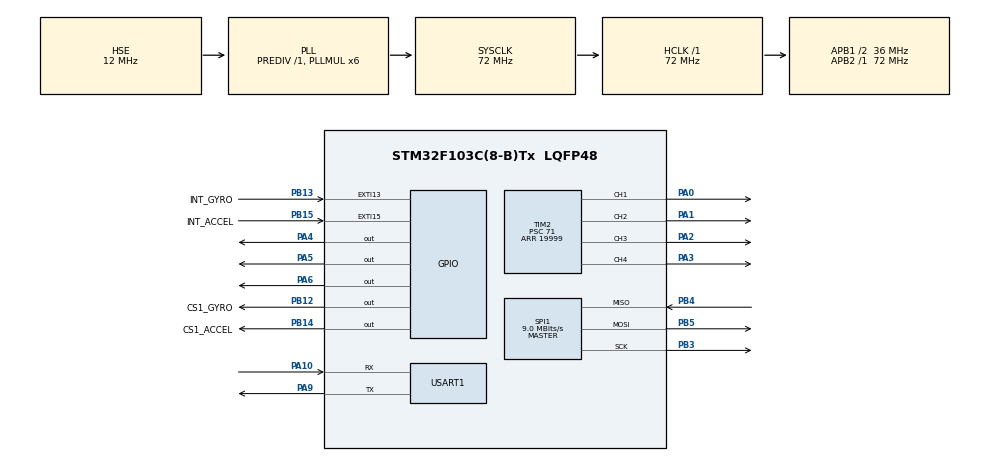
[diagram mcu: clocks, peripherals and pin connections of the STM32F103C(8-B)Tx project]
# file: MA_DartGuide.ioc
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FREERTOS.Tasks01=Ins_Task,24,512,IMU_Task,Default,NULL,Dynamic,NULL,NULL;CTL_Task,24,256,Control_Task,Default,NULL,Dynamic,NULL,NULL;LED_Task,8,128,led_task,Default,NULL,Dynamic,NULL,NULL
FREERTOS.configTOTAL_HEAP_SIZE=10240
Mcu.Family=STM32F1
Mcu.Name=STM32F103C(8-B)Tx
Mcu.Package=LQFP48
NVIC.PriorityGroup=NVIC_PRIORITYGROUP_4
NVIC.TIM1_UP_IRQn=true\:15\:0\:false\:false\:true\:false\:false\:true\:true
NVIC.USART1_IRQn=true\:5\:0\:true\:false\:true\:true\:true\:true\:true
NVIC.TimeBase=TIM1_UP_IRQn
NVIC.TimeBaseIP=TIM1
PA0-WKUP.Signal=S_TIM2_CH1_ETR
PA1.Signal=S_TIM2_CH2
PA10.Mode=Asynchronous
PA10.Signal=USART1_RX
PA13.Mode=Serial_Wire
PA13.Signal=SYS_JTMS-SWDIO
PA14.Mode=Serial_Wire
PA14.Signal=SYS_JTCK-SWCLK
PA2.Signal=S_TIM2_CH3
PA3.Signal=S_TIM2_CH4
PA4.PinState=GPIO_PIN_SET
PA4.Signal=GPIO_Output
PA5.PinState=GPIO_PIN_SET
PA5.Signal=GPIO_Output
PA6.PinState=GPIO_PIN_SET
PA6.Signal=GPIO_Output
PA9.Mode=Asynchronous
PA9.Signal=USART1_TX
PB12.GPIO_Label=CS1_GYRO
PB12.GPIO_PuPd=GPIO_PULLUP
PB12.GPIO_Speed=GPIO_SPEED_FREQ_HIGH
PB12.PinState=GPIO_PIN_SET
PB12.Signal=GPIO_Output
PB13.GPIO_Label=INT_GYRO
PB13.Signal=GPXTI13
PB14.GPIO_Label=CS1_ACCEL
PB14.GPIO_PuPd=GPIO_PULLUP
PB14.GPIO_Speed=GPIO_SPEED_FREQ_HIGH
PB14.PinState=GPIO_PIN_SET
PB14.Signal=GPIO_Output
PB15.GPIO_Label=INT_ACCEL
PB15.Signal=GPXTI15
PB3.Mode=Full_Duplex_Master
PB3.Signal=SPI1_SCK
PB4.GPIO_PuPd=GPIO_PULLUP
PB4.Mode=Full_Duplex_Master
PB4.Signal=SPI1_MISO
PB5.Mode=Full_Duplex_Master
PB5.Signal=SPI1_MOSI
PB8.Signal=CAN_RX
PB9.Signal=CAN_TX
PD0-OSC_IN.Mode=HSE-External-Oscillator
PD0-OSC_IN.Signal=RCC_OSC_IN
PD1-OSC_OUT.Mode=HSE-External-Oscillator
PD1-OSC_OUT.Signal=RCC_OSC_OUT
ProjectManager.HeapSize=0x200
ProjectManager.StackSize=0x800
ProjectManager.TargetToolchain=MDK-ARM V5.32
RCC.AHBFreq_Value=72000000
RCC.APB1CLKDivider=RCC_HCLK_DIV2
RCC.APB1Freq_Value=36000000
RCC.APB1TimFreq_Value=72000000
RCC.APB2Freq_Value=72000000
RCC.APB2TimFreq_Value=72000000
RCC.HCLKFreq_Value=72000000
RCC.HSE_VALUE=12000000
RCC.PLLMUL=RCC_PLL_MUL6
RCC.PLLSourceVirtual=RCC_PLLSOURCE_HSE
RCC.SYSCLKFreq_VALUE=72000000
RCC.SYSCLKSource=RCC_SYSCLKSOURCE_PLLCLK
SH.S_TIM2_CH1_ETR.0=TIM2_CH1,PWM Generation1 CH1
SH.S_TIM2_CH2.0=TIM2_CH2,PWM Generation2 CH2
SH.S_TIM2_CH3.0=TIM2_CH3,PWM Generation3 CH3
SH.S_TIM2_CH4.0=TIM2_CH4,PWM Generation4 CH4
SPI1.BaudRatePrescaler=SPI_BAUDRATEPRESCALER_8
SPI1.CLKPhase=SPI_PHASE_2EDGE
SPI1.CLKPolarity=SPI_POLARITY_HIGH
SPI1.CalculateBaudRate=9.0 MBits/s
SPI1.Direction=SPI_DIRECTION_2LINES
SPI1.Mode=SPI_MODE_MASTER
SPI1.VirtualType=VM_MASTER
TIM2.Channel-PWM\ Generation1\ CH1=TIM_CHANNEL_1
TIM2.Channel-PWM\ Generation2\ CH2=TIM_CHANNEL_2
TIM2.Channel-PWM\ Generation3\ CH3=TIM_CHANNEL_3
TIM2.Channel-PWM\ Generation4\ CH4=TIM_CHANNEL_4
TIM2.Period=19999
TIM2.Prescaler=71
TIM2.Pulse-PWM\ Generation4\ CH4=500
USART1.VirtualMode=VM_ASYNC
VP_FREERTOS_VS_CMSIS_V2.Mode=CMSIS_V2
VP_SYS_VS_tim1.Mode=TIM1
board=custom

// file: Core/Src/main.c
/* USER CODE BEGIN Header */
/**
  ******************************************************************************
  * @file           : main.c
  * @brief          : Main program body
  ******************************************************************************
  * @attention
  *
  * Copyright (c) 2026 STMicroelectronics.
  * All rights reserved.
  *
  * This software is licensed under terms that can be found in the LICENSE file
  * in the root directory of this software component.
  * If no LICENSE file comes with this software, it is provided AS-IS.
  *
  ******************************************************************************
  */
/* USER CODE END Header */
#include "main.h"
#include "cmsis_os.h"
#include "spi.h"
#include "tim.h"
#include "usart.h"
#include "gpio.h"

/* USER CODE BEGIN Includes */
#include "bsp_dwt.h"
/* USER CODE END Includes */

void SystemClock_Config(void);
void MX_FREERTOS_Init(void);

int main(void)
{

  /* MCU Configuration--------------------------------------------------------*/

  /* Reset of all peripherals, Initializes the Flash interface and the Systick. */
  HAL_Init();

  /* Configure the system clock */
  SystemClock_Config();

  /* Initialize all configured peripherals */
  MX_GPIO_Init();
  MX_SPI1_Init();
  MX_TIM2_Init();
  MX_USART1_UART_Init();
  /* USER CODE BEGIN 2 */
  DWT_Init(HAL_RCC_GetHCLKFreq() / 1000000U);
  /* BMI088 is initialized with retry handling by IMU_Task. */
  /* USER CODE END 2 */

  /* Init scheduler */
  osKernelInitialize();  /* Call init function for freertos objects (in cmsis_os2.c) */
  MX_FREERTOS_Init();

  /* Start scheduler */
  osKernelStart();

  /* We should never get here as control is now taken by the scheduler */

  /* Infinite loop */
  while (1)
  {

  }
}

void SystemClock_Config(void)
{
  RCC_OscInitTypeDef RCC_OscInitStruct = {0};
  RCC_ClkInitTypeDef RCC_ClkInitStruct = {0};

  /** Initializes the RCC Oscillators according to the specified parameters
  * in the RCC_OscInitTypeDef structure.
  */
  RCC_OscInitStruct.OscillatorType = RCC_OSCILLATORTYPE_HSE;
  RCC_OscInitStruct.HSEState = RCC_HSE_ON;
  RCC_OscInitStruct.HSEPredivValue = RCC_HSE_PREDIV_DIV1;
  RCC_OscInitStruct.HSIState = RCC_HSI_ON;
  RCC_OscInitStruct.PLL.PLLState = RCC_PLL_ON;
  RCC_OscInitStruct.PLL.PLLSource = RCC_PLLSOURCE_HSE;
  RCC_OscInitStruct.PLL.PLLMUL = RCC_PLL_MUL6;
  if (HAL_RCC_OscConfig(&RCC_OscInitStruct) != HAL_OK)
  {
    Error_Handler();
  }

  /** Initializes the CPU, AHB and APB buses clocks
  */
  RCC_ClkInitStruct.ClockType = RCC_CLOCKTYPE_HCLK|RCC_CLOCKTYPE_SYSCLK
                              |RCC_CLOCKTYPE_PCLK1|RCC_CLOCKTYPE_PCLK2;
  RCC_ClkInitStruct.SYSCLKSource = RCC_SYSCLKSOURCE_PLLCLK;
  RCC_ClkInitStruct.AHBCLKDivider = RCC_SYSCLK_DIV1;
  RCC_ClkInitStruct.APB1CLKDivider = RCC_HCLK_DIV2;
  RCC_ClkInitStruct.APB2CLKDivider = RCC_HCLK_DIV1;

  if (HAL_RCC_ClockConfig(&RCC_ClkInitStruct, FLASH_LATENCY_2) != HAL_OK)
  {
    Error_Handler();
  }
}

void HAL_TIM_PeriodElapsedCallback(TIM_HandleTypeDef *htim)
{
  if (htim->Instance == TIM1)
  {
    HAL_IncTick();
  }
}

void Error_Handler(void)
{
  __disable_irq();
  while (1)
  {
  }
}

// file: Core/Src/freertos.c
/* USER CODE BEGIN Header */
/**
  ******************************************************************************
  * File Name          : freertos.c
  * Description        : Code for freertos applications
  ******************************************************************************
  * @attention
  *
  * Copyright (c) 2026 STMicroelectronics.
  * All rights reserved.
  *
  * This software is licensed under terms that can be found in the LICENSE file
  * in the root directory of this software component.
  * If no LICENSE file comes with this software, it is provided AS-IS.
  *
  ******************************************************************************
  */
/* USER CODE END Header */

#include "FreeRTOS.h"
#include "task.h"
#include "main.h"
#include "cmsis_os.h"

/* USER CODE BEGIN Includes */
#include "ins_task.h"
#include "ctl_task.h"
#include "spi.h"

/* USER CODE END Includes */

/* Definitions for Ins_Task */
osThreadId_t Ins_TaskHandle;
const osThreadAttr_t Ins_Task_attributes = {
  .name = "Ins_Task",
  .stack_size = 512 * 4,
  .priority = (osPriority_t) osPriorityNormal,
};
/* Definitions for CTL_Task */
osThreadId_t CTL_TaskHandle;
const osThreadAttr_t CTL_Task_attributes = {
  .name = "CTL_Task",
  .stack_size = 256 * 4,
  .priority = (osPriority_t) osPriorityNormal,
};
/* Definitions for LED_Task */
osThreadId_t LED_TaskHandle;
const osThreadAttr_t LED_Task_attributes = {
  .name = "LED_Task",
  .stack_size = 128 * 4,
  .priority = (osPriority_t) osPriorityLow,
};

void IMU_Task(void *argument);
void Control_Task(void *argument);
void led_task(void *argument);

void MX_FREERTOS_Init(void); /* (MISRA C 2004 rule 8.1) */

void MX_FREERTOS_Init(void) {

  /* Create the thread(s) */
  /* creation of Ins_Task */
  Ins_TaskHandle = osThreadNew(IMU_Task, NULL, &Ins_Task_attributes);

  /* creation of CTL_Task */
  CTL_TaskHandle = osThreadNew(Control_Task, NULL, &CTL_Task_attributes);

  /* creation of LED_Task */
  LED_TaskHandle = osThreadNew(led_task, NULL, &LED_Task_attributes);

}

void IMU_Task(void *argument)
{
  /* USER CODE BEGIN IMU_Task */
  uint8_t imu_error;

  control_notify_imu_ready(0U);
  do
  {
    /* Recalibrate gyro bias while the dart is stationary at every power-up.
       Yaw has no gravity reference, so a stale Z bias integrates directly. */
    imu_error = BMI088_init(&hspi1, 1U);
    if (imu_error != BMI088_NO_ERROR)
      osDelay(100U);
  } while (imu_error != BMI088_NO_ERROR);

  INS_Init();
  osDelay(1U);
  INS_Task();
  control_notify_imu_ready(1U);
  /* Infinite loop */
  for(;;)
  {
    INS_Task();
    osDelay(1);
  }
  /* USER CODE END IMU_Task */
}

void Control_Task(void *argument)
{
  /* USER CODE BEGIN Control_Task */
	control_Init();
  /* Infinite loop */
  for(;;)
  {
    control_Task();
    osDelay(DART_CONTROL_PERIOD_MS);
  }
  /* USER CODE END Control_Task */
}

void led_task(void *argument)
{
  /* USER CODE BEGIN led_task */
  /* Infinite loop */
  for(;;)
  {
    led_Task();
    /* 50 Hz 向 OpenMV 发送 pitch/yaw/roll 姿态帧。
       放在低优先级任务中，避免阻塞 2 ms 控制任务。 */
    attitude_telemetry_send();
    /* 握手成功前每 100 ms 发送握手帧；收到 ACK 后停止。 */
    openmv_handshake_send();
    osDelay(20U);
  }
  /* USER CODE END led_task */
}
